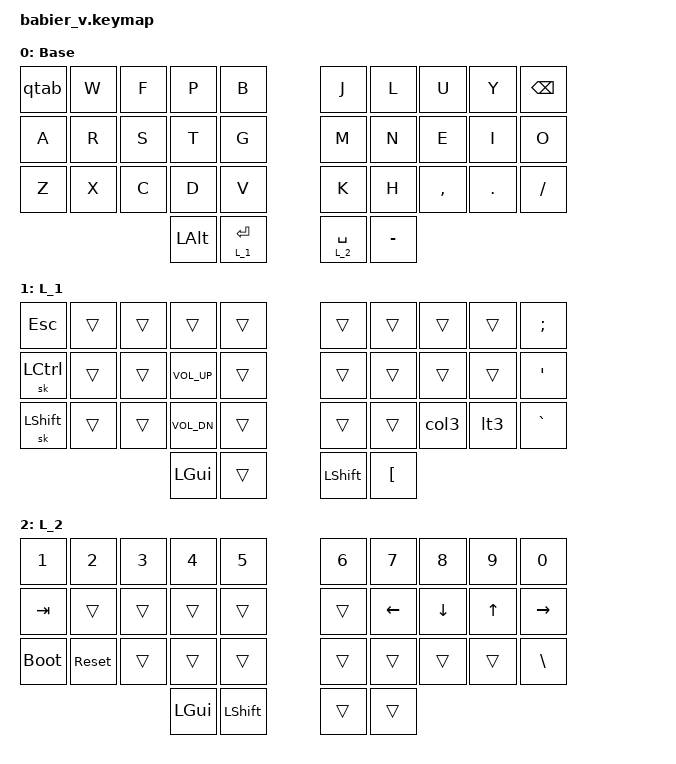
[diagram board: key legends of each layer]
#include <behaviors.dtsi>
#include <dt-bindings/zmk/keys.h>
#include <dt-bindings/zmk/bt.h>
#include <dt-bindings/zmk/outputs.h>

#define L_1 1
#define L_2 2

// Using layer taps on thumbs, having quick tap as well helps w/ repeating space/backspace
&lt { quick_tap_ms = <170>; };

/ {
    
    tap_dances {
    	shifty: shift_caps_word {
		    compatible = "zmk,behavior-tap-dance";
		    label = "TD_SHIFTY";
		    #binding-cells = <0>;
		    tapping-term-ms = <150>;
		    bindings = <&kp LSHFT>, <&caps_word>;
	    };
    };

    behaviors {
        qtab: q_alt_tab {
            compatible = "zmk,behavior-mod-morph";
            #binding-cells = <0>;
            bindings = <&kp Q>, <&kp TAB>;
            mods = <(MOD_LALT)>;
            keep-mods = <(MOD_LALT)>;
        };
        lt3: less_than_three {
            compatible = "zmk,behavior-macro";
            #binding-cells = <0>;
            bindings
                = <&macro_press &kp LSHFT>
                , <&macro_tap &kp COMMA>
                , <&macro_release &kp LSHFT>
                , <&macro_press &kp N3>
                , <&macro_release &kp N3>
                ;
        };
        col3: colon_three {
            compatible = "zmk,behavior-macro";
            #binding-cells = <0>;
            bindings
                = <&macro_press &kp LSHFT>
                , <&macro_tap &kp SEMI>
                , <&macro_release &kp LSHFT>
                , <&macro_press &kp N3>
                , <&macro_release &kp N3>
                ;
        };
    };

    keymap {
        compatible = "zmk,keymap";

        base_layer {
            label = "Base";
            bindings = <
       &qtab     &kp W  &kp F      &kp P    &kp B         &kp J         &kp L     &kp U     &kp Y   &kp BKSP
       &kp A     &kp R  &kp S      &kp T    &kp G         &kp M         &kp N     &kp E     &kp I   &kp O   
       &kp Z     &kp X  &kp C      &kp D    &kp V         &kp K         &kp H     &kp COMMA &kp DOT &kp SLASH     
                                   &kp LALT &lt L_1 ENTER &lt L_2 SPACE &kp MINUS 
            >;
        };

        layer_1 {
            label = "L_1";
            bindings = <
       &kp ESC   &trans &trans     &trans       &trans       &trans        &trans    &trans    &trans  &kp SEMI
       &sk LCTRL &trans &trans     &kp C_VOL_UP &trans       &trans        &trans    &trans    &trans  &kp SQT
       &sk LSHFT &trans &trans     &kp C_VOL_DN &trans       &trans        &trans    &col3     &lt3    &kp GRAVE
                                   &kp LGUI     &trans       &kp LSHFT     &kp LBKT  
            >;
        };

        layer_2 {
            label = "L_2";
            bindings = <
       &kp N1      &kp N2     &kp N3     &kp N4    &kp N5        &kp N6       &kp N7    &kp N8    &kp N9  &kp N0
       &kp TAB     &trans     &trans     &trans    &trans        &trans       &kp LEFT  &kp DOWN  &kp UP  &kp RIGHT
       &bootloader &sys_reset &trans     &trans    &trans        &trans       &trans    &trans    &trans  &kp BSLH
                                         &kp LGUI  &kp LSHFT     &trans       &trans    
            >;
        };

    };
 };
